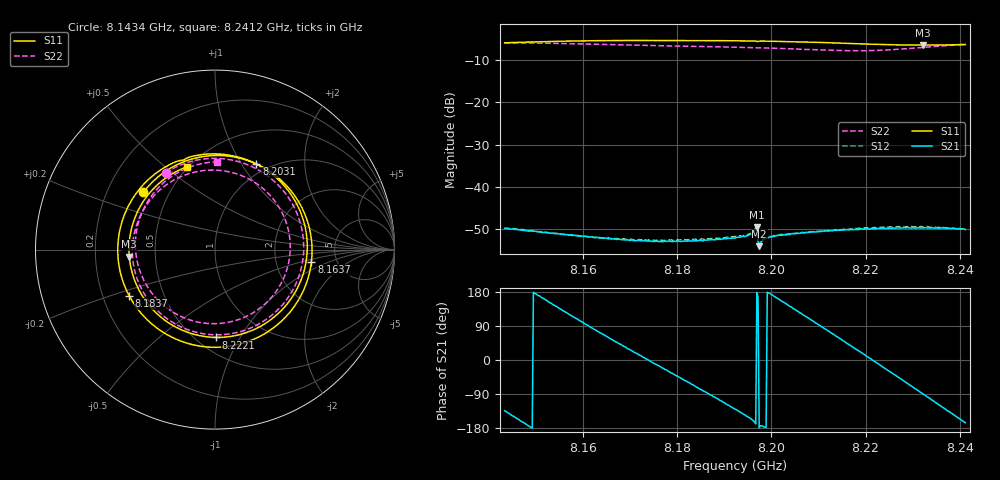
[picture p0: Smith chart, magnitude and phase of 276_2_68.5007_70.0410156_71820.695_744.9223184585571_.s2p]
#  HZ  S  RI  R  50.00
! Rohde & Schwarz Vector Network Analyzer
! Rohde-Schwarz,ZNB20-2Port,1311601062101988,3.16
! Created: UTC 3/20/2024, 5:00:58 PM
! freq[Hz]  re:S11  im:S11  re:S21  im:S21  re:S12  im:S12  re:S22  im:S22
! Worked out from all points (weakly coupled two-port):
!   401 points, 8.1434 GHz to 8.2412 GHz, reference 50 ohm
!   highest |S21| = -49.54 dB at 8.1969 GHz (marker M1); lowest = -54.1 dB at 8.1974 GHz (marker M2)
!   lowest |S11| = -6.4 dB at 8.2321 GHz (marker M3), VSWR 2.84, Z = 17.6 - j1.77 ohm
!   |S11| at or under -10 dB: nowhere
!   |S22| runs from -7.7 to -5.9 dB; largest |S21 - S12| = 0.00025
!   S11 on the Smith chart (normalised r, x): 8.1434 GHz: 0.36, +0.31; 8.1637 GHz: 3.23, -0.63; 8.1837 GHz: 0.31, -0.23; 8.2031 GHz: 0.88, +1.16; 8.2221 GHz: 0.62, -0.80; 8.2412 GHz: 0.49, +0.59
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8.143427e9  -0.3991 0.3188  -0.0022 -0.0023  -0.00232 -0.00228  -0.2757 0.4276
8.147581e9  -0.1749 0.4892  -0.00296 -0.000738  -0.00299 -0.000691  -0.0174 0.5082
8.151491e9  0.0861 0.5197  -0.00273 0.000801  -0.00277 0.000892  0.2254 0.4529
8.159799e9  0.5041 0.1883  -0.00048 0.00256  -0.000494 0.00255  0.4936 0.0384
8.163709e9  0.5371 -0.0694  0.000781 0.00233  0.000765 0.00236  0.4506 -0.1907
8.170551e9  0.3035 -0.4518  0.00213 0.000918  0.00217 0.000924  0.1601 -0.4512
8.176172e9  -0.0613 -0.5409  0.00215 -0.000588  0.00223 -0.000618  -0.1558 -0.4448
8.183747e9  -0.4777 -0.258  0.000848 -0.00213  0.000854 -0.00224  -0.4392 -0.1469
8.187901e9  -0.5414 0.021  -0.000308 -0.00232  -0.000371 -0.0024  -0.4514 0.0814
8.1923e9  -0.4428 0.3086  -0.00157 -0.00189  -0.0017 -0.00192  -0.3426 0.2974
8.196943e9  -0.1816 0.4978  -0.00333 0.000123  -0.0034 0.000266  -0.1227 0.4293
8.197432e9  -0.1573 0.5098  -0.00197 -3.56e-05  -0.00201 -3.14e-05  -0.096 0.4355
8.203052e9  0.2311 0.476  -0.0023 0.00139  -0.00229 0.0015  0.2127 0.3799
8.208672e9  0.4864 0.182  -0.000723 0.00281  -0.000635 0.00285  0.4055 0.1212
8.214782e9  0.445 -0.2409  0.00176 0.00251  0.00187 0.00247  0.3384 -0.2365
8.218691e9  0.2429 -0.4331  0.0029 0.00122  0.00301 0.00115  0.1407 -0.3864
8.222112e9  0.00433 -0.4893  0.00313 -0.000311  0.00323 -0.000441  -0.0828 -0.4063
8.225045e9  -0.2009 -0.4407  0.0028 -0.0016  0.00281 -0.0018  -0.2646 -0.3281
8.22871e9  -0.3982 -0.2686  0.00161 -0.00285  0.00152 -0.003  -0.4153 -0.1278
8.232131e9  -0.4775 -0.0386  5.02e-05 -0.00323  -0.00016 -0.00333  -0.4363 0.1087
8.237019e9  -0.3854 0.2888  -0.00208 -0.00247  -0.00227 -0.00235  -0.2587 0.3952
8.241173e9  -0.1565 0.461  -0.00301 -0.000774  -0.00314 -0.000599  0.0128 0.4893
